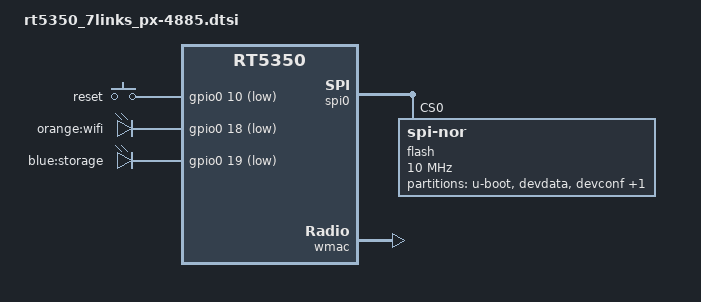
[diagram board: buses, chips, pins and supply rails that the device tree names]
#include "rt5350.dtsi"

#include <dt-bindings/gpio/gpio.h>
#include <dt-bindings/input/input.h>

/ {
	compatible = "7links,px-4885", "ralink,rt5350-soc";

	aliases {
		led-boot = &led_wifi;
		led-failsafe = &led_wifi;
		led-running = &led_wifi;
		led-upgrade = &led_wifi;
	};

	keys {
		compatible = "gpio-keys-polled";
		poll-interval = <20>;

		reset {
			label = "reset";
			gpios = <&gpio0 10 GPIO_ACTIVE_LOW>;
			linux,code = <KEY_RESTART>;
		};
	};

	leds {
		compatible = "gpio-leds";

		led_wifi: wifi {
			label = "orange:wifi";
			gpios = <&gpio0 18 GPIO_ACTIVE_LOW>;
		};

		storage {
			label = "blue:storage";
			gpios = <&gpio0 19 GPIO_ACTIVE_LOW>;
			trigger-sources = <&ohci_port1>, <&ehci_port1>;
			linux,default-trigger = "usbport";
		};
	};
};

&spi0 {
	status = "okay";

	flash@0 {
		compatible = "jedec,spi-nor";
		reg = <0>;
		spi-max-frequency = <10000000>;

		partitions {
			compatible = "fixed-partitions";
			#address-cells = <1>;
			#size-cells = <1>;

			partition@0 {
				label = "u-boot";
				reg = <0x0 0x20000>;
				read-only;
			};

			partition@20000 {
				label = "devdata";
				reg = <0x20000 0x20000>;
				read-only;
			};

			devconf: partition@40000 {
				label = "devconf";
				reg = <0x40000 0x10000>;
				read-only;
			};

			firmware: partition@50000 {
				compatible = "denx,uimage";
				label = "firmware";
				/* reg property is set based on flash size in DTS files */
			};
		};
	};
};

&state_default {
	gpio {
		groups = "i2c", "jtag", "uartf";
		function = "gpio";
	};
};

&ethernet {
	nvmem-cells = <&macaddr_devconf_28>;
	nvmem-cell-names = "mac-address";
};

&esw {
	mediatek,portmap = <0x3f>;
};

&wmac {
	ralink,mtd-eeprom = <&devconf 0x0>;
};

&devconf {
	compatible = "nvmem-cells";
	#address-cells = <1>;
	#size-cells = <1>;

	macaddr_devconf_28: macaddr@28 {
		reg = <0x28 0x6>;
	};
};
